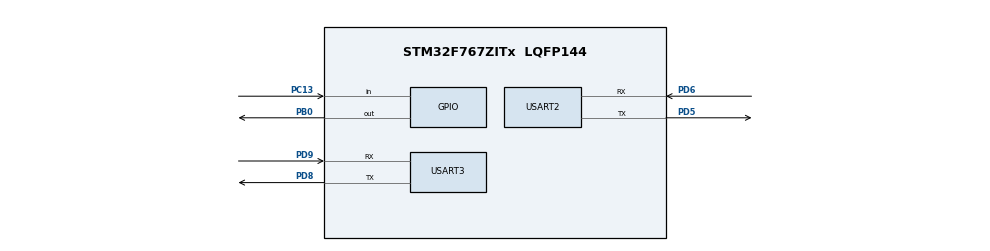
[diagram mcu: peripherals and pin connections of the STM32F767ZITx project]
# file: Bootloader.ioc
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Mcu.Family=STM32F7
Mcu.Name=STM32F767ZITx
Mcu.Package=LQFP144
NVIC.PriorityGroup=NVIC_PRIORITYGROUP_4
PB0.Signal=GPIO_Output
PC13.Signal=GPIO_Input
PD5.Mode=Asynchronous
PD5.Signal=USART2_TX
PD6.Mode=Asynchronous
PD6.Signal=USART2_RX
PD8.Mode=Asynchronous
PD8.Signal=USART3_TX
PD9.Mode=Asynchronous
PD9.Signal=USART3_RX
ProjectManager.HeapSize=0x200
ProjectManager.StackSize=0x400
ProjectManager.TargetToolchain=STM32CubeIDE
RCC.HSE_VALUE=25000000
RCC.HSI_VALUE=16000000
RCC.LSE_VALUE=32768
RCC.USBFreq_Value=96000000
RCC.VCOOutputFreq_Value=192000000
USART2.VirtualMode-Asynchronous=VM_ASYNC
USART3.VirtualMode-Asynchronous=VM_ASYNC
board=custom

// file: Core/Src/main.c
/* USER CODE BEGIN Header */
/**
  ******************************************************************************
  * @file           : main.c
  * @brief          : Main program body
  ******************************************************************************
  * @attention
  *
  * Copyright (c) 2024 STMicroelectronics.
  * All rights reserved.
  *
  * This software is licensed under terms that can be found in the LICENSE file
  * in the root directory of this software component.
  * If no LICENSE file comes with this software, it is provided AS-IS.
  *
  ******************************************************************************
  */
/* USER CODE END Header */
#include "main.h"

/* USER CODE BEGIN Includes */
#include <stdio.h>
#include "etx_ota_update.h"
/* USER CODE END Includes */

/* USER CODE BEGIN PM */
#define MAJOR 0
#define MINOR 1
/* USER CODE END PM */

UART_HandleTypeDef huart2;
UART_HandleTypeDef huart3;

/* USER CODE BEGIN PV */
const uint8_t FBL_Version[2]={MAJOR, MINOR};
/* USER CODE END PV */

void SystemClock_Config(void);
static void MX_GPIO_Init(void);
static void MX_USART3_UART_Init(void);
static void MX_USART2_UART_Init(void);
/* USER CODE BEGIN PFP */
static void goto_application(void);
/* USER CODE END PFP */

int main(void)
{

  /* MCU Configuration--------------------------------------------------------*/

  /* Reset of all peripherals, Initializes the Flash interface and the Systick. */
  HAL_Init();

  /* Configure the system clock */
  SystemClock_Config();

  /* Initialize all configured peripherals */
  MX_GPIO_Init();
  MX_USART3_UART_Init();
  MX_USART2_UART_Init();
  /* USER CODE BEGIN 2 */
printf("Starting Bootloader %d.%d\n", FBL_Version[0],FBL_Version[1]);
HAL_GPIO_WritePin(GPIOB, GPIO_PIN_0, GPIO_PIN_SET);
//HAL_Delay(2000);
GPIO_PinState OTA_Pin_state;
uint32_t end_tick=HAL_GetTick()+3000;

printf("Press the User Button PC13 to trigger OTA update...\r\n");
do
{
  OTA_Pin_state = HAL_GPIO_ReadPin( GPIOC, GPIO_PIN_13 );
  uint32_t current_tick = HAL_GetTick();

  /* Check the button is pressed or not for 3seconds */
  if( ( OTA_Pin_state != GPIO_PIN_RESET ) || ( current_tick > end_tick ) )
  {
    /* Either timeout or Button is pressed */
    break;
  }
}while( 1 );

/*Start the Firmware or Application update */
if( OTA_Pin_state == GPIO_PIN_SET )
{
  printf("Starting Firmware Download!!!\r\n");
  /* OTA Request. Receive the data from the UART4 and flash */
  if( etx_ota_download_and_flash() != ETX_OTA_EX_OK )
  {
    /* Error. Don't process. */
    printf("OTA Update : ERROR!!! HALT!!!\r\n");
    while( 1 );
  }
  else
  {
    /* Reset to load the new application */
    printf("Firmware update is done!!! Rebooting...\r\n");
    HAL_NVIC_SystemReset();
  }
}

// Jump to application
goto_application();
  /* USER CODE END 2 */

  /* Infinite loop */
  while (1)
  {

  }
}

void SystemClock_Config(void)
{
  RCC_OscInitTypeDef RCC_OscInitStruct = {0};
  RCC_ClkInitTypeDef RCC_ClkInitStruct = {0};

  /** Configure the main internal regulator output voltage
  */
  __HAL_RCC_PWR_CLK_ENABLE();
  __HAL_PWR_VOLTAGESCALING_CONFIG(PWR_REGULATOR_VOLTAGE_SCALE3);

  /** Initializes the RCC Oscillators according to the specified parameters
  * in the RCC_OscInitTypeDef structure.
  */
  RCC_OscInitStruct.OscillatorType = RCC_OSCILLATORTYPE_HSI;
  RCC_OscInitStruct.HSIState = RCC_HSI_ON;
  RCC_OscInitStruct.HSICalibrationValue = RCC_HSICALIBRATION_DEFAULT;
  RCC_OscInitStruct.PLL.PLLState = RCC_PLL_NONE;
  if (HAL_RCC_OscConfig(&RCC_OscInitStruct) != HAL_OK)
  {
    Error_Handler();
  }

  /** Initializes the CPU, AHB and APB buses clocks
  */
  RCC_ClkInitStruct.ClockType = RCC_CLOCKTYPE_HCLK|RCC_CLOCKTYPE_SYSCLK
                              |RCC_CLOCKTYPE_PCLK1|RCC_CLOCKTYPE_PCLK2;
  RCC_ClkInitStruct.SYSCLKSource = RCC_SYSCLKSOURCE_HSI;
  RCC_ClkInitStruct.AHBCLKDivider = RCC_SYSCLK_DIV1;
  RCC_ClkInitStruct.APB1CLKDivider = RCC_HCLK_DIV1;
  RCC_ClkInitStruct.APB2CLKDivider = RCC_HCLK_DIV1;

  if (HAL_RCC_ClockConfig(&RCC_ClkInitStruct, FLASH_LATENCY_0) != HAL_OK)
  {
    Error_Handler();
  }
}

static void MX_USART2_UART_Init(void)
{

  huart2.Instance = USART2;
  huart2.Init.BaudRate = 115200;
  huart2.Init.WordLength = UART_WORDLENGTH_8B;
  huart2.Init.StopBits = UART_STOPBITS_1;
  huart2.Init.Parity = UART_PARITY_NONE;
  huart2.Init.Mode = UART_MODE_TX_RX;
  huart2.Init.HwFlowCtl = UART_HWCONTROL_NONE;
  huart2.Init.OverSampling = UART_OVERSAMPLING_16;
  huart2.Init.OneBitSampling = UART_ONE_BIT_SAMPLE_DISABLE;
  huart2.AdvancedInit.AdvFeatureInit = UART_ADVFEATURE_NO_INIT;
  if (HAL_UART_Init(&huart2) != HAL_OK)
  {
    Error_Handler();
  }

}

static void MX_USART3_UART_Init(void)
{

  huart3.Instance = USART3;
  huart3.Init.BaudRate = 115200;
  huart3.Init.WordLength = UART_WORDLENGTH_8B;
  huart3.Init.StopBits = UART_STOPBITS_1;
  huart3.Init.Parity = UART_PARITY_NONE;
  huart3.Init.Mode = UART_MODE_TX_RX;
  huart3.Init.HwFlowCtl = UART_HWCONTROL_NONE;
  huart3.Init.OverSampling = UART_OVERSAMPLING_16;
  huart3.Init.OneBitSampling = UART_ONE_BIT_SAMPLE_DISABLE;
  huart3.AdvancedInit.AdvFeatureInit = UART_ADVFEATURE_NO_INIT;
  if (HAL_UART_Init(&huart3) != HAL_OK)
  {
    Error_Handler();
  }

}

static void MX_GPIO_Init(void)
{
  GPIO_InitTypeDef GPIO_InitStruct = {0};

  /* GPIO Ports Clock Enable */
  __HAL_RCC_GPIOC_CLK_ENABLE();
  __HAL_RCC_GPIOB_CLK_ENABLE();
  __HAL_RCC_GPIOD_CLK_ENABLE();

  /*Configure GPIO pin Output Level */
  HAL_GPIO_WritePin(GPIOB, GPIO_PIN_0, GPIO_PIN_RESET);

  /*Configure GPIO pin : PC13 */
  GPIO_InitStruct.Pin = GPIO_PIN_13;
  GPIO_InitStruct.Mode = GPIO_MODE_INPUT;
  GPIO_InitStruct.Pull = GPIO_NOPULL;
  HAL_GPIO_Init(GPIOC, &GPIO_InitStruct);

  /*Configure GPIO pin : PB0 */
  GPIO_InitStruct.Pin = GPIO_PIN_0;
  GPIO_InitStruct.Mode = GPIO_MODE_OUTPUT_PP;
  GPIO_InitStruct.Pull = GPIO_NOPULL;
  GPIO_InitStruct.Speed = GPIO_SPEED_FREQ_LOW;
  HAL_GPIO_Init(GPIOB, &GPIO_InitStruct);

}

/* USER CODE BEGIN 4 */
#ifdef __GNUC__
int __io_putchar(int ch)
#else
int fputc(int ch, FILE *f)
#endif
{
	HAL_UART_Transmit(&huart3, (uint8_t *)&ch,1,HAL_MAX_DELAY);
	return ch;
}

static void goto_application(void)
{
	printf("Jump to application\n");
	void(*app_reset_handler)(void)= (void*) (*(volatile uint32_t *)(0x08040000+4));
	HAL_GPIO_WritePin(GPIOB, GPIO_PIN_0, GPIO_PIN_RESET);
	app_reset_handler();
}
/* USER CODE END 4 */

void Error_Handler(void)
{
  __disable_irq();
  while (1)
  {
  }
}
